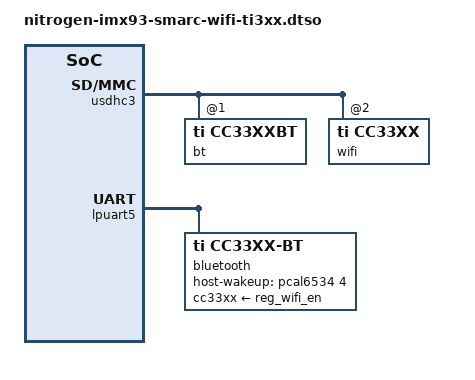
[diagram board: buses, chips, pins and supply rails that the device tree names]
// SPDX-License-Identifier: (GPL-2.0+ OR MIT)
/*
 * SDIO TI3xx module
 *
 * Copyright (C) 2024 Ezurio LLC
 */

/dts-v1/;
/plugin/;

#include <dt-bindings/gpio/gpio.h>

&reg_wifi_en {
	startup-delay-us = <10000>;
	off-on-delay-us = <100>;
};

&usdhc3 {
	status = "okay";

	cap-power-off-card;

	#address-cells = <1>;
	#size-cells = <0>;

	bt@1 {
		reg = <1>;
		compatible = "ti,cc33xxbt";
	};

	wifi@2 {
		reg = <2>;
		compatible = "ti,cc33xx";
	};
};

&lpuart5 {
 	status = "okay";

	bluetooth {
		compatible = "ti,cc33xx-bt";
		cc33xx-supply = <&reg_wifi_en>;
		max-speed = <115200>;

		host-wakeup-gpios = <&pcal6534 4 GPIO_ACTIVE_HIGH>;
	};
};
